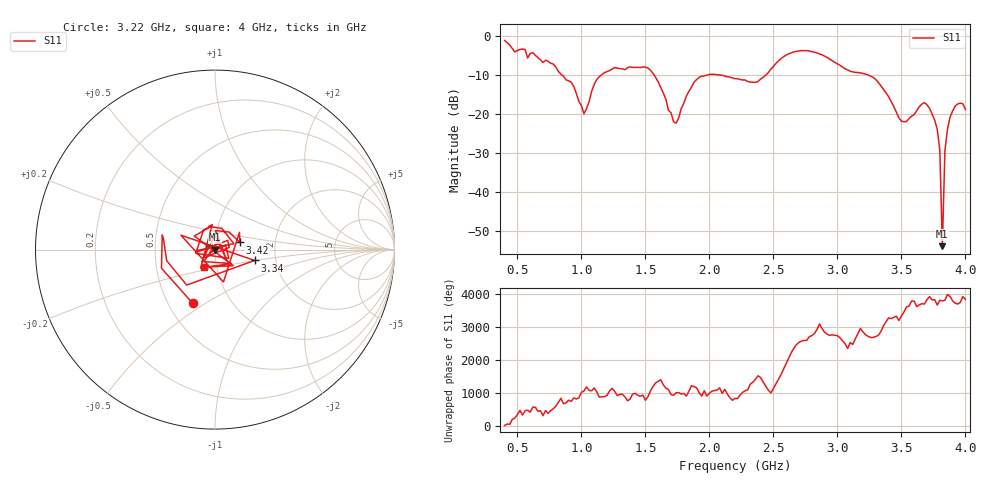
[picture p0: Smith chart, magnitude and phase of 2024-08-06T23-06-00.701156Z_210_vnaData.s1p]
!Created with skrf (http://scikit-rf.org).
# Hz S RI R 50.0
!freq ReS11 ImS11
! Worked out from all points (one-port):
!   181 points, 400 MHz to 4 GHz, reference 50 ohm
!   lowest |S11| = -53.8 dB at 3.82 GHz (marker M1), VSWR 1.00, Z = 49.8 - j0.0296 ohm
!   |S11| at or under -10 dB: 1.567 GHz to 1.988 GHz (420.9 MHz wide, 23.7 % of centre); 2.076 GHz to 2.443 GHz (366.8 MHz wide, 16.2 % of centre); 3.239 GHz to end of sweep (the widest 3 of 4)
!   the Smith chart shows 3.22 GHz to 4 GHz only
!   S11 on the Smith chart (normalised r, x): 3.22 GHz: 0.66, -0.44; 3.34 GHz: 1.55, -0.20; 3.42 GHz: 1.32, +0.11; 4 GHz: 0.87, -0.17
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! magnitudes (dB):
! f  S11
! 400 MHz  -1.2
! 860 MHz  -10.3
! 940 MHz  -12.9
! 1.02 GHz  -19.9
! 1.12 GHz  -11.2
! 1.3 GHz  -8.4
! 1.52 GHz  -8.2
! 1.6 GHz  -11.8
! 1.72 GHz  -22.0
! 1.76 GHz  -21.0
! 1.92 GHz  -10.6
! 2.2 GHz  -11.0
! 2.38 GHz  -11.7
! 2.66 GHz  -4.1
! 3.1 GHz  -9.1
! 3.22 GHz  -9.8
! 3.34 GHz  -12.8
! 3.42 GHz  -16.8
! 3.5 GHz  -21.8
! 3.56 GHz  -21.2
! 3.68 GHz  -17.1
! 3.78 GHz  -23.9
! 3.8 GHz  -29.1
! 3.82 GHz  -53.8
! 3.84 GHz  -29.4
! 3.86 GHz  -23.9
! 3.92 GHz  -18.0
! 4 GHz  -18.8
